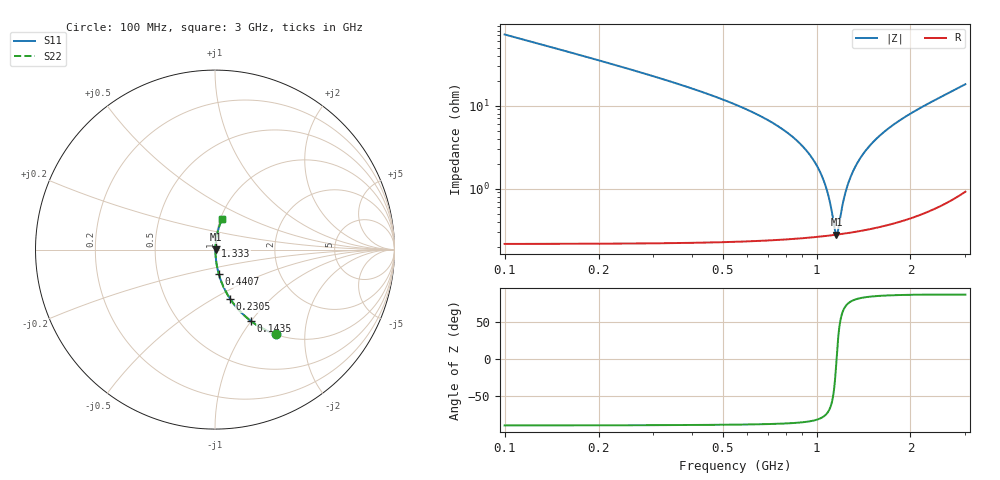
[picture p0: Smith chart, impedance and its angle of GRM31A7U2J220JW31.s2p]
!Murata Part Number: GRM31A7U2J220JW31
!These Parameters are Measured in Series Mode Connection
!Data Generated on Mar 30, 2021
!  o--ll--o
!Port1  Port2
!  o------o
!Operation Temp=25[degC], DC Bias Voltage=0[V]
!Freq. Start=100[MHz] Stop=3[GHz] 401[Steps]
# Hz S RI R 50
!Freq.(Hz) S11(Real) S11(Imag) S21(Real) S21(Imag) S12(Real) S12(Imag) S22(Real) S22(Imag)
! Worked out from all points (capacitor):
!   401 points, 100 MHz to 3 GHz, reference 50 ohm
!   read as one part in series: C = 22 pF near 114.5 MHz
!   lowest |Z| = 280 mohm at 1.159 GHz (marker M1)
!   series resonance near 1.159 GHz, so ESL is about 860 pH
!   S11 on the Smith chart (normalised r, x): 100 MHz: 1.00, -1.44; 143.5 MHz: 1.00, -0.99; 230.5 MHz: 1.00, -0.60; 440.8 MHz: 1.00, -0.28; 1.333 GHz: 1.01, +0.04; 3 GHz: 1.02, +0.36
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1e8  0.3408 -0.4725  0.6592 0.4725  0.6592 0.4725  0.3408 -0.4725
1.435e8  0.1989 -0.397  0.8011 0.397  0.8011 0.397  0.1989 -0.397
2.305e8  0.0852 -0.2756  0.9148 0.2756  0.9148 0.2756  0.0852 -0.2756
4.4075e8  0.0216 -0.1378  0.9784 0.1378  0.9784 0.1378  0.0216 -0.1378
5.8575e8  0.0108 -0.0916  0.9892 0.0916  0.9892 0.0916  0.0108 -0.0916
7.7425e8  0.00516 -0.0522  0.9948 0.0522  0.9948 0.0522  0.00516 -0.0522
9.0475e8  0.00354 -0.0318  0.9965 0.0318  0.9965 0.0318  0.00354 -0.0318
9.99e8  0.00298 -0.019  0.997 0.019  0.997 0.019  0.00298 -0.019
1.0715e9  0.00279 -0.0101  0.9972 0.0101  0.9972 0.0101  0.00279 -0.0101
1.1005e9  0.00277 -0.00667  0.9972 0.00667  0.9972 0.00667  0.00277 -0.00667
1.144e9  0.00277 -0.0017  0.9972 0.0017  0.9972 0.0017  0.00277 -0.0017
1.1585e9  0.00279 -8.48e-05  0.9972 8.48e-05  0.9972 8.48e-05  0.00279 -8.48e-05
1.173e9  0.00281 0.00152  0.9972 -0.00152  0.9972 -0.00152  0.00281 0.00152
1.2165e9  0.0029 0.00623  0.9971 -0.00623  0.9971 -0.00623  0.0029 0.00623
1.2455e9  0.00298 0.00929  0.997 -0.00929  0.997 -0.00929  0.00298 0.00929
1.3325e9  0.00334 0.0182  0.9967 -0.0182  0.9967 -0.0182  0.00334 0.0182
1.42675e9  0.00391 0.0274  0.9961 -0.0274  0.9961 -0.0274  0.00391 0.0274
1.55e9  0.00488 0.0389  0.9951 -0.0389  0.9951 -0.0389  0.00488 0.0389
1.76025e9  0.00714 0.0578  0.9929 -0.0578  0.9929 -0.0578  0.00714 0.0578
2.03575e9  0.0112 0.0819  0.9888 -0.0819  0.9888 -0.0819  0.0112 0.0819
2.5215e9  0.0223 0.1251  0.9777 -0.1251  0.9777 -0.1251  0.0223 0.1251
3e9  0.0399 0.1719  0.9601 -0.1719  0.9601 -0.1719  0.0399 0.1719
